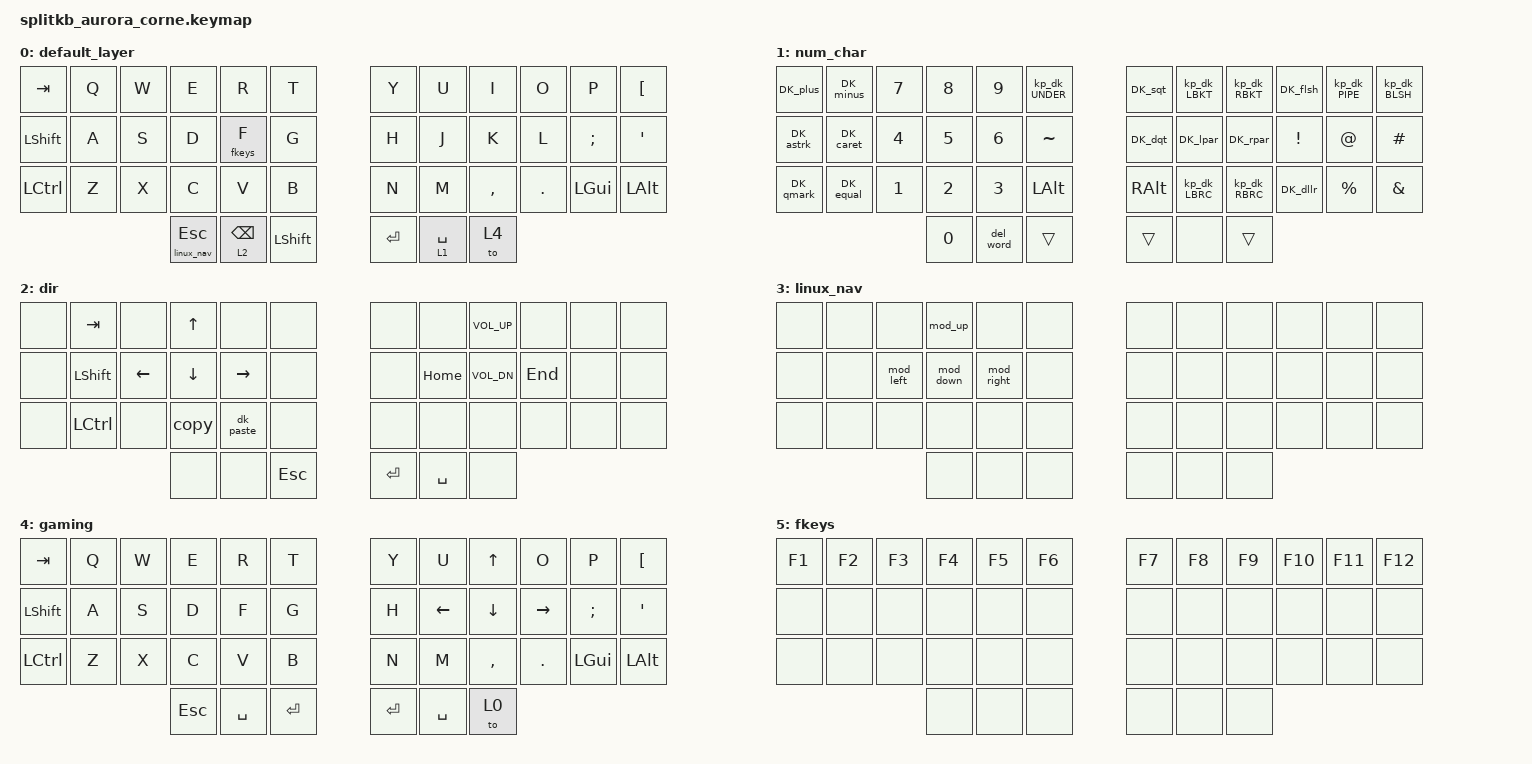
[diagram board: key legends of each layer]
/*
 * Copyright (c) 2020 The ZMK Contributors
 *
 * SPDX-License-Identifier: MIT
 */

#include <behaviors.dtsi>
#include <dt-bindings/zmk/keys.h>
#include <dt-bindings/zmk/bt.h>

#define DEFAULT   0
#define NUMCHAR   1
#define DIREC     2
#define linux_nav 3
#define gaming    4
#define fkeys     5

#include "aliases.h" //file contains aliases for most symbols for the danish language

/ {

    macros {
        kp_dk_LBKT: kp_dk_LBKT { // this is a macro for writting "[" on danish keyboards.
            label = "kp_dk_LBKT";
            compatible = "zmk,behavior-macro";
            #binding-cells = <0>;
            bindings
                = <&macro_press &kp RALT>
                , <&macro_tap &kp N8>
                , <&macro_release &kp RALT>
                ;
        };
        kp_dk_RBKT: kp_dk_RBKT { // this is a macro for writting "]" on danish keyboards.
            label = "kp_dk_RBKT";
            compatible = "zmk,behavior-macro";
            #binding-cells = <0>;
            bindings
                = <&macro_press &kp RALT>
                , <&macro_tap &kp N9>
                , <&macro_release &kp RALT>
                ;
        };
        kp_dk_LBRC: kp_dk_LBRC { // this is a macro for writting "{" on danish keyboards.
            label = "kp_dk_LBRC";
            compatible = "zmk,behavior-macro";
            #binding-cells = <0>;
            bindings
                = <&macro_press &kp RALT>
                , <&macro_tap &kp N7>
                , <&macro_release &kp RALT>
                ;
        };
        kp_dk_RBRC: kp_dk_RBRC { // this is a macro for writting "}" on danish keyboards.
            label = "kp_dk_RBRC";
            compatible = "zmk,behavior-macro";
            #binding-cells = <0>;
            bindings
                = <&macro_press &kp RALT>
                , <&macro_tap &kp N0>
                , <&macro_release &kp RALT>
                ;
        };
        copy: copy { // this is a macro for copying
            label = "copy";
            compatible = "zmk,behavior-macro";
            #binding-cells = <0>;
            bindings
                = <&macro_press &kp LCTRL>
                , <&macro_tap &kp C>
                , <&macro_release &kp LCTRL>
                ;
        };
        dk_paste: dk_paste { // this is a macro for pasting
            label = "dk_paste";
            compatible = "zmk,behavior-macro";
            #binding-cells = <0>;
            bindings
                = <&macro_press &kp LCTRL>
                , <&macro_tap &kp V>
                , <&macro_release &kp LCTRL>
                ;
        };
        del_word: del_word { // this is a macro for utilising the delete word functionality on windows
            label = "del_word";
            compatible = "zmk,behavior-macro";
            #binding-cells = <0>;
            bindings
                = <&macro_press &kp LCTRL>
                , <&macro_tap &kp BACKSPACE>
                , <&macro_release &kp LCTRL>
                ;
        };
        kp_dk_BLSH: kp_dk_BLSH { // this is a macro for writting "\" on danish keyboards.
            label = "kp_dk_BLSH";
            compatible = "zmk,behavior-macro";
            #binding-cells = <0>;
            bindings
                = <&macro_press &kp RALT>
                , <&macro_tap &kp NON_US_BACKSLASH>
                , <&macro_release &kp RALT>
                ;
        };
        kp_dk_PIPE: kp_dk_PIPE { // this is a macro for writting "|" on danish keyboards.
            label = "kp_dk_PIPE";
            compatible = "zmk,behavior-macro";
            #binding-cells = <0>;
            bindings
                = <&macro_press &kp RALT>
                , <&macro_tap &kp EQUAL>
                , <&macro_release &kp RALT>
                ;
        };
        kp_dk_UNDER: kp_dk_UNDER { // this is a macro for writting "_" on danish keyboards.
            label = "kp_dk_UNDER";
            compatible = "zmk,behavior-macro";
            #binding-cells = <0>;
            bindings
                = <&macro_press &kp LSHIFT>
                , <&macro_tap &kp FSLH>
                , <&macro_release &kp LSHIFT>
                ;
        };
        mod_left: mod_left { // this is a macro for writting "_" on danish keyboards.
            label = "mod_left";
            compatible = "zmk,behavior-macro";
            #binding-cells = <0>;
            bindings
                = <&macro_press &kp LGUI>
                , <&macro_tap &kp LEFT>
                , <&macro_release &kp LGUI>
                ;
        };
        mod_up: mod_up { // this is a macro for writting "_" on danish keyboards.
            label = "mod_up";
            compatible = "zmk,behavior-macro";
            #binding-cells = <0>;
            bindings
                = <&macro_press &kp LGUI>
                , <&macro_tap &kp UP>
                , <&macro_release &kp LGUI>
                ;
        };
        mod_right: mod_right { // this is a macro for writting "_" on danish keyboards.
            label = "mod_right";
            compatible = "zmk,behavior-macro";
            #binding-cells = <0>;
            bindings
                = <&macro_press &kp LGUI>
                , <&macro_tap &kp RIGHT>
                , <&macro_release &kp LGUI>
                ;
        };
        mod_down: mod_down { // this is a macro for writting "_" on danish keyboards.
            label = "mod_down";
            compatible = "zmk,behavior-macro";
            #binding-cells = <0>;
            bindings
                = <&macro_press &kp LGUI>
                , <&macro_tap &kp DOWN>
                , <&macro_release &kp LGUI>
                ;
        };

    };
        keymap {
                compatible = "zmk,keymap";
                default_layer {
// -----------------------------------------------------------------------------------------
// |  TAB |  Q  |  W  |  E  |  R  |  T  |   |  Y  |  U   |  I  |  O  |  P  |  Å  |
// | SHFT |  A  |  S  |  D  |  F  |  G  |   |  H  |  J   |  K  |  L  |  Æ  |  Ø  |
// | CTRL |  Z  |  X  |  C  |  V  |  B  |   |  N  |  M   |  ,  |  .  | GUI | ALT |
//                    | GUI | LWR | SPC |   | ENT | SPACE| ALT |

                        bindings = <
   &kp TAB   &kp Q &kp W &kp E &kp R &kp T   &kp Y &kp U  &kp I     &kp O   &kp P    &kp LBKT
   &kp LSHFT &kp A &kp S &kp D &lt fkeys F &kp G   &kp H &kp J  &kp K     &kp L   &kp SEMI &kp SQT
   &kp LCTRL &kp Z &kp X &kp C &kp V &kp B   &kp N &kp M  &kp COMMA &kp DOT &kp LGUI &kp LALT
                   &lt linux_nav ESC  &lt 2 BSPC  &kp LSHFT   &kp RET &lt 1 SPACE &to 4
                        >;
                };

                num_char {
// -----------------------------------------------------------------------------------------
// |   +  |  -  |  7  |  8  |  9  |  _  |       |  '  |  [  |  ]  |  /  |  |  |  \  |
// |   *  |  ^  |  4  |  5  |  6  |  ~  |       |  "  |  {  |  }  |  !  |  @  |  #  |
// |   ?  |  =  |  1  |  2  |  3  |  ¨  |       |  "  |  (  |  )  |  $  |  %  |  &  |
//                    |  0  | BSPC| ESC |       | ENT |     |     |
                bindings = <
   &kp DK_plus  &kp DK_minus &kp N7 &kp N8    &kp N9  &kp_dk_UNDER          &kp DK_sqt &kp_dk_LBKT  &kp_dk_RBKT &kp DK_flsh &kp_dk_PIPE &kp_dk_BLSH
   &kp DK_astrk &kp DK_caret &kp N4 &kp N5    &kp N6  &kp TILDE             &kp DK_dqt &kp DK_lpar  &kp DK_rpar &kp EXCL    &kp AT    &kp HASH
   &kp DK_qmark &kp DK_equal &kp N1 &kp N2    &kp N3  &kp LALT              &kp RALT   &kp_dk_LBRC  &kp_dk_RBRC &kp DK_dllr &kp PRCNT &kp AMPS
                                    &kp N0 &del_word &trans                 &trans     &none        &trans
                       >;
                };

                dir {
// -----------------------------------------------------------------------------------------
// |     | tab |     |arup |     |     |       |     |      | volup |     |    |    |
// |     |lshft|arlft|ardwn|arght|     |       |     | home | volup | end |    |    |
// |     |lctrl|     | copy|paste|     |       |     |      |       |     |    |    |
//                   |     |     | ESC |       | ENT | space|       |
                bindings = <
   &none &kp TAB   &none    &kp UP   &none     &none     &none   &none     &kp C_VOL_UP &none   &none  &none
   &none &kp LSHFT &kp LEFT &kp DOWN &kp RIGHT &none     &none   &kp HOME  &kp C_VOL_DN &kp END &none  &none
   &none &kp LCTRL &none    &copy    &dk_paste &none     &none   &none     &none        &none   &none  &none
                            &none    &none     &kp ESC    &kp RET &kp SPACE &none 
                        >;
                };

                linux_nav {
// -----------------------------------------------------------------------------------------
// |     | tab |     |arup |     |     |       |     |      | volup |     |    |    |
// |     |lshft|arlft|ardwn|arght|     |       |     | home | volup | end |    |    |
// |     |lctrl|     |     |     |     |       |     |      |       |     |    |    |
//                   |     |     | ESC |       | ENT | space|       |
                bindings = <
   &none &none &none     &mod_up   &none      &none     &none &none &none &none &none &none
   &none &none &mod_left &mod_down &mod_right &none     &none &none &none &none &none &none
   &none &none &none     &none     &none      &none     &none &none &none &none &none &none
                                  &none &none &none     &none &none &none 
                        >;
                };

                gaming {
                    bindings = <
   &kp TAB   &kp Q &kp W &kp E &kp R &kp T   &kp Y &kp U  &kp UP     &kp O   &kp P    &kp LBKT
   &kp LSHFT &kp A &kp S &kp D &kp F &kp G   &kp H &kp LEFT  &kp DOWN     &kp RIGHT   &kp SEMI &kp SQT
   &kp LCTRL &kp Z &kp X &kp C &kp V &kp B   &kp N &kp M  &kp COMMA &kp DOT &kp LGUI &kp LALT
                   &kp ESC  &kp SPACE  &kp RET   &kp RET &kp SPACE &to 0
                    >;
                };
                fkeys {
                    bindings = <
   &kp F1 &kp F2 &kp F3 &kp F4 &kp F5 &kp F6   &kp F7 &kp F8 &kp F9 &kp F10 &kp F11 &kp F12
   &none &none &none &none &none &none         &none &none &none &none &none &none
   &none &none &none &none &none &none         &none &none &none &none &none &none
                     &none &none &none         &none &none &none 
                    >;
                };
        };
};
